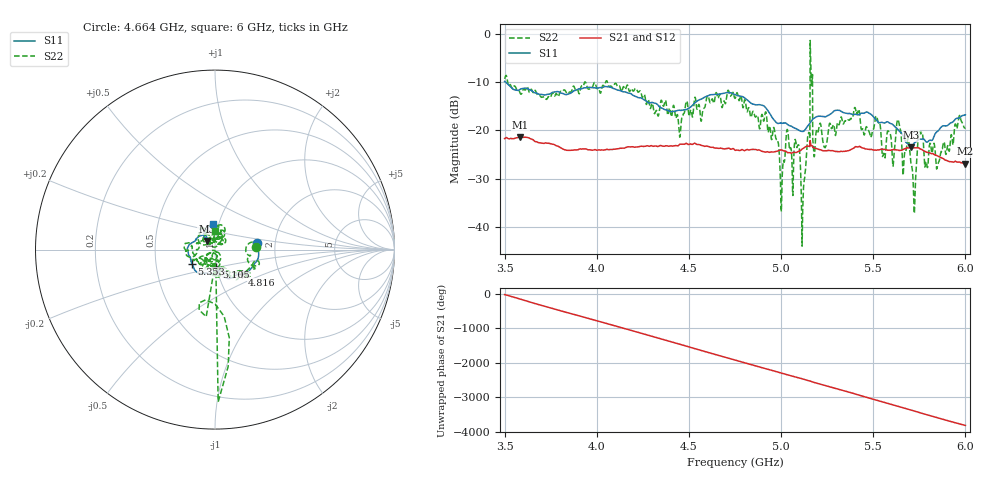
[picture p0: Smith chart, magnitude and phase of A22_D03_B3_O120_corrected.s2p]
! Created with skrf 1.9.0 (http://scikit-rf.org).
# Hz S RI R 50.0
!freq ReS11 ImS11 ReS21 ImS21 ReS12 ImS12 ReS22 ImS22
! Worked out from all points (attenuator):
!   1601 points, 3.5 GHz to 6 GHz, reference 50 ohm
!   highest |S21| = -21.37 dB at 3.584 GHz (marker M1); lowest = -26.9 dB at 5.997 GHz (marker M2)
!   lowest |S11| = -23.5 dB at 5.705 GHz (marker M3), VSWR 1.14, Z = 45.4 + j4.36 ohm
!   |S11| at or under -10 dB: 3.505 GHz to end of sweep
!   |S22| runs from -44.0 to -1.4 dB; largest |S21 - S12| = 0.001
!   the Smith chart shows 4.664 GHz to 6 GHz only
!   S11 on the Smith chart (normalised r, x): 4.664 GHz: 1.60, +0.12; 4.816 GHz: 1.30, -0.38; 5.105 GHz: 0.99, -0.20; 5.353 GHz: 0.76, -0.12; 6 GHz: 0.94, +0.28
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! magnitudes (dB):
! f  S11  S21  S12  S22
! 3.5 GHz  -9.9  -21.7  -21.7  -9.4
! 3.584 GHz  -11.5  -21.4  -21.4  -12.3
! 3.917 GHz  -11.4  -23.9  -23.9  -10.8
! 4.334 GHz  -14.9  -23.3  -23.3  -17.0
! 4.664 GHz  -12.5  -23.7  -23.7  -12.7
! 4.75 GHz  -12.7  -24.1  -24.1  -13.4
! 4.816 GHz  -13.7  -24.0  -24.0  -16.2
! 4.969 GHz  -18.2  -24.4  -24.4  -21.1
! 5.005 GHz  -18.5  -24.1  -24.1  -31.2
! 5.033 GHz  -18.7  -24.6  -24.5  -19.8
! 5.086 GHz  -19.8  -24.5  -24.5  -23.6
! 5.105 GHz  -20.1  -24.2  -24.2  -27.1
! 5.122 GHz  -20.2  -23.7  -23.6  -31.7
! 5.167 GHz  -17.9  -23.2  -23.1  -10.2
! 5.184 GHz  -17.4  -23.7  -23.6  -23.4
! 5.353 GHz  -16.5  -24.3  -24.3  -18.2
! 5.584 GHz  -18.4  -24.1  -24.1  -20.3
! 5.705 GHz  -23.5  -23.7  -23.7  -26.9
! 5.722 GHz  -22.6  -23.6  -23.6  -36.6
! 5.756 GHz  -21.8  -23.9  -23.8  -20.7
! 5.997 GHz  -16.9  -26.9  -26.8  -19.5
! 6 GHz  -16.8  -26.9  -26.8  -19.5
